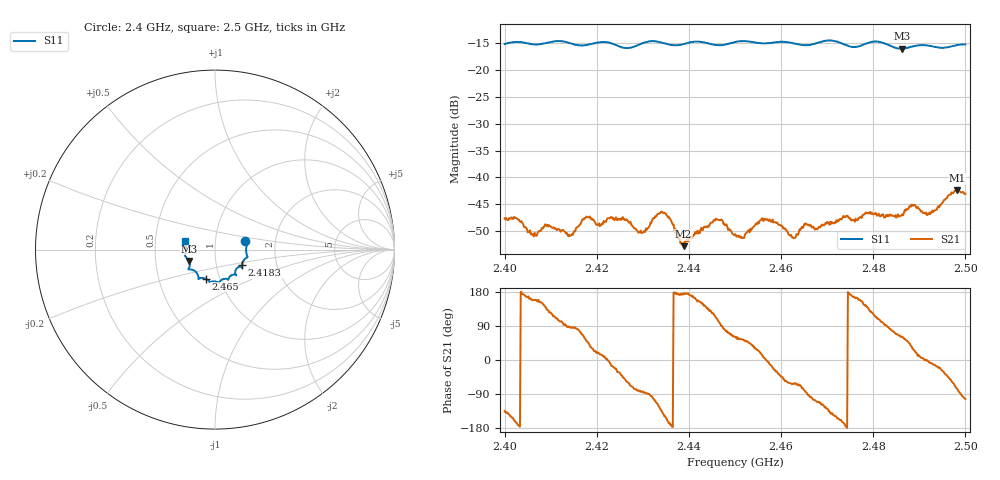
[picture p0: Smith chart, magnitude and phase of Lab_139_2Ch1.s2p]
# Hz S RI R 50
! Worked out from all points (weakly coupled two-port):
!   601 points, 2.4 GHz to 2.5 GHz, reference 50 ohm
!   highest |S21| = -42.44 dB at 2.4982 GHz (marker M1); lowest = -52.8 dB at 2.4388 GHz (marker M2)
!   lowest |S11| = -16.0 dB at 2.4862 GHz (marker M3), VSWR 1.37, Z = 37.1 - j4.83 ohm
!   |S11| at or under -10 dB: start of sweep to end of sweep
!   S12 and S22 are empty: the file has one direction only
!   S11 on the Smith chart (normalised r, x): 2.4 GHz: 1.40, +0.13; 2.4183 GHz: 1.33, -0.24; 2.465 GHz: 0.86, -0.29; 2.5 GHz: 0.71, +0.07
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2.4e9  0.1689 0.0457  -0.0029 -0.00297  0 0  0 0
2.4065e9  0.1729 0.00294  -0.00283 0.00112  0 0  0 0
2.409333e9  0.1773 -0.0302  -0.00243 0.00267  0 0  0 0
2.414333e9  0.1702 -0.0488  0.000245 0.00285  0 0  0 0
2.416667e9  0.155 -0.0684  0.00141 0.00355  0 0  0 0
2.418333e9  0.1499 -0.0869  0.00316 0.00288  0 0  0 0
2.4295e9  0.1131 -0.1333  0.000486 -0.00315  0 0  0 0
2.433333e9  0.1167 -0.1414  -0.00226 -0.00397  0 0  0 0
2.435333e9  0.1052 -0.1389  -0.00409 -0.00152  0 0  0 0
2.438833e9  0.0783 -0.1559  -0.00228 0.000212  0 0  0 0
2.445833e9  0.0544 -0.1625  -0.00154 0.00381  0 0  0 0
2.45e9  0.0253 -0.1807  0.00143 0.00259  0 0  0 0
2.456167e9  -0.00241 -0.177  0.00389 0.000463  0 0  0 0
2.462667e9  -0.0346 -0.1743  0.00122 -0.00242  0 0  0 0
2.465e9  -0.0527 -0.1621  0.000682 -0.00359  0 0  0 0
2.466667e9  -0.0713 -0.1576  -0.000601 -0.00337  0 0  0 0
2.483333e9  -0.142 -0.0957  0.000262 0.00433  0 0  0 0
2.486167e9  -0.1444 -0.0634  0.00211 0.00389  0 0  0 0
2.488667e9  -0.1608 -0.0424  0.00476 0.00261  0 0  0 0
2.492167e9  -0.1662 -0.0265  0.00467 -0.000582  0 0  0 0
2.498167e9  -0.1666 0.0373  0.00193 -0.0073  0 0  0 0
2.5e9  -0.1666 0.0475  -0.00158 -0.00684  0 0  0 0
